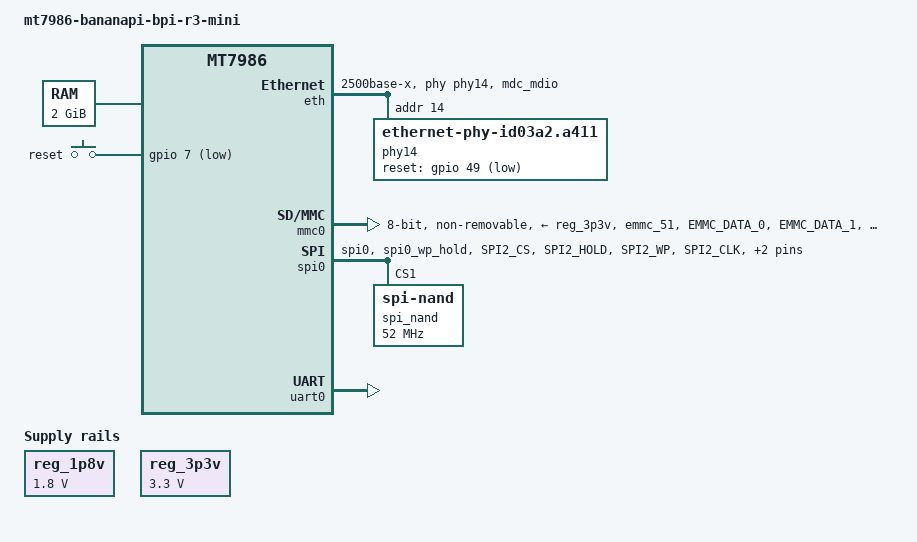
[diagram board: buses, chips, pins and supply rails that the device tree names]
// SPDX-License-Identifier: GPL-2.0-or-later

/dts-v1/;
#include <dt-bindings/input/linux-event-codes.h>
#include "mt7986.dtsi"
#include <dt-bindings/gpio/gpio.h>

/ {
	#address-cells = <1>;
	#size-cells = <1>;
	model = "mt7986-bananapi-bpi-r3-mini";
	compatible = "mediatek,mt7986", "mediatek,mt7986-rfb";

	chosen {
		stdout-path = &uart0;
		tick-timer = &timer0;
	};

	config {
		bootcmd = "mtkboardboot";
		environment {
			#bootargs =  "root=/dev/fit0 rootwait";
			#bootconf = "config-mt7986a-bananapi-bpi-r3-mini";
		};		
	};

	memory@40000000 {
		device_type = "memory";
		reg = <0x40000000 0x80000000>;
	};

	gpio-keys {
		compatible = "gpio-keys";

		button-reset {
			label = "reset";
			linux,code = <KEY_RESTART>;
			gpios = <&gpio 7 GPIO_ACTIVE_LOW>;
		};
	};

	reg_1p8v: regulator-1p8v {
		compatible = "regulator-fixed";
		regulator-name = "fixed-1.8V";
		regulator-min-microvolt = <1800000>;
		regulator-max-microvolt = <1800000>;
		regulator-boot-on;
		regulator-always-on;
	};

	reg_3p3v: regulator-3p3v {
		compatible = "regulator-fixed";
		regulator-name = "fixed-3.3V";
		regulator-min-microvolt = <3300000>;
		regulator-max-microvolt = <3300000>;
		regulator-boot-on;
		regulator-always-on;
	};

	bl2_verify {
		bl2_compatible = "spim-nand";
	};
};

&eth {
	status = "okay";
	pinctrl-0 = <&mdio_pins>;
	pinctrl-names = "default";

	mediatek,gmac-id = <0>;
	phy-mode = "2500base-x";
	phy-handle = <&phy14>;

	phy14: phy@14 {
		compatible = "ethernet-phy-id03a2.a411";
		reg = <14>;
		pinctrl-0 = <&en8811_pwr_a>;
		pinctrl-names = "default";

		airoha,rx-pol-reverse;

		reset-gpios = <&gpio 49 GPIO_ACTIVE_LOW>;
		reset-assert-us = <10000>;
		reset-deassert-us = <20000>;

		phy-mode = "2500base-x";
		full-duplex;
		pause;
	};
};

&mmc0 {
	bus-width = <8>;
	cap-mmc-highspeed;
	cap-mmc-hw-reset;
	max-frequency = <200000000>;
	non-removable;
	pinctrl-names = "default";
	pinctrl-0 = <&mmc0_pins_default>;
	vmmc-supply = <&reg_3p3v>;
	vqmmc-supply = <&reg_1p8v>;
	status = "okay";
};

&pinctrl {
	mmc0_pins_default: mmc0default {
		mux {
			function = "flash";
			groups =  "emmc_51";
		};
		
		conf-cmd-dat {
			pins = "EMMC_DATA_0", "EMMC_DATA_1", "EMMC_DATA_2",
			       "EMMC_DATA_3", "EMMC_DATA_4", "EMMC_DATA_5",
			       "EMMC_DATA_6", "EMMC_DATA_7", "EMMC_CMD";
			input-enable;
			drive-strength = <MTK_DRIVE_4mA>;
			bias-pull-up = <MTK_PUPD_SET_R1R0_01>;
		};

		conf-clk {
			pins = "EMMC_CK";
			drive-strength = <MTK_DRIVE_6mA>;
			bias-pull-down = <MTK_PUPD_SET_R1R0_10>;
		};

		conf-dsl {
			pins = "EMMC_DSL";
			bias-pull-down = <MTK_PUPD_SET_R1R0_10>;
		};

		conf-rst {
			pins = "EMMC_RSTB";
			drive-strength = <MTK_DRIVE_4mA>;
			bias-pull-up = <MTK_PUPD_SET_R1R0_01>;
		};
	};
	
	spi_flash_pins: spi0-pins-func-1 {
		mux {
			function = "flash";
			groups = "spi0", "spi0_wp_hold";
		};

		conf-pu {
			pins = "SPI2_CS", "SPI2_HOLD", "SPI2_WP";
			drive-strength = <MTK_DRIVE_8mA>;
			bias-pull-up = <MTK_PUPD_SET_R1R0_11>;
		};

		conf-pd {
			pins = "SPI2_CLK", "SPI2_MOSI", "SPI2_MISO";
			drive-strength = <MTK_DRIVE_8mA>;
			bias-pull-down = <MTK_PUPD_SET_R1R0_11>;
		};
	};

	mdio_pins: mdio-pins {
		mux {
			function = "eth";
			groups = "mdc_mdio";
		};
	};
		
	en8811_pwr_a: en8811-pwr-a {
		pins = "GPIO_11";
		drive-strength = <MTK_DRIVE_8mA>;
		bias-pull-down = <MTK_PUPD_SET_R1R0_11>;
		output-low;
	};
};

&spi0 {
	#address-cells = <1>;
	#size-cells = <0>;
	pinctrl-names = "default";
	pinctrl-0 = <&spi_flash_pins>;
	status = "okay";
	must_tx;
	enhance_timing;
	dma_ext;
	ipm_design;
	support_quad;
	tick_dly = <2>;
	sample_sel = <0>;

	spi_nand@0 {
		compatible = "spi-nand";
		reg = <1>;
		spi-max-frequency = <52000000>;
	};
};


&uart0 {
	status = "okay";
};

&watchdog {
	status = "disabled";
};
